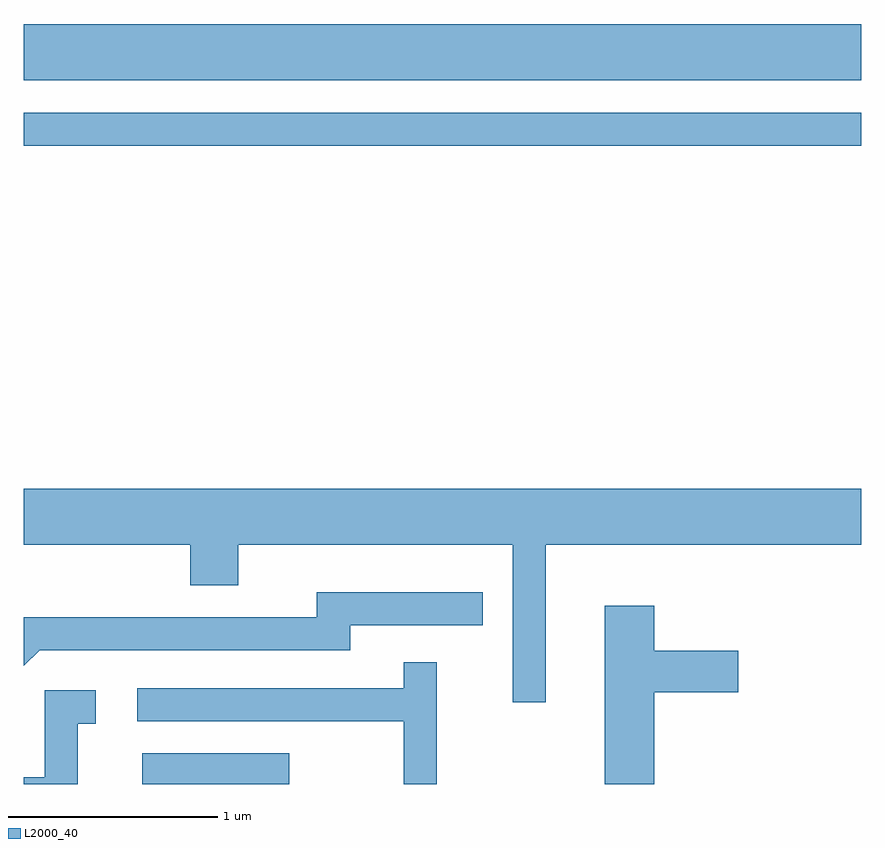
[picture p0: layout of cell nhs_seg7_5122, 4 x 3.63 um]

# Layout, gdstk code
import gdstk
lib = gdstk.Library(unit=1e-6, precision=1e-09)
def R(c, l, rs):  # rectangles x0, y0, x1, y1
    for r in rs: c.add(gdstk.rectangle(r[:2], r[2:], *l))
def P(c, l, *ps):  # polygons
    for p in ps: c.add(gdstk.Polygon(p, *l))
L2000_40 = (2000, 40)

nhs_seg7_5122 = lib.new_cell('nhs_seg7_5122')
R(nhs_seg7_5122, L2000_40, [(342.176,1744.252,342.878,1744.399), (341.611,1747.301,345.611,1747.459), (341.611,1747.616,345.611,1747.884)])
P(nhs_seg7_5122, L2000_40, [(344.104,1745.396),(345.611,1745.396),(345.611,1745.664),(341.611,1745.664),(341.611,1745.396),(342.406,1745.396),(342.406,1745.201),(342.634,1745.201),(342.634,1745.396),(343.946,1745.396),(343.946,1744.643),(344.104,1744.643)],
  [(341.687,1744.891),(343.169,1744.891),(343.169,1745.011),(343.803,1745.011),(343.803,1745.169),(343.011,1745.169),(343.011,1745.049),(341.611,1745.049),(341.611,1744.816)],
  [(344.624,1744.691),(345.024,1744.691),(345.024,1744.889),(344.624,1744.889),(344.624,1745.104),(344.386,1745.104),(344.386,1744.252),(344.624,1744.252)],
  [(343.584,1744.833),(343.426,1744.833),(343.426,1744.709),(342.153,1744.709),(342.153,1744.551),(343.426,1744.551),(343.426,1744.252),(343.584,1744.252)],
  [(341.869,1744.541),(341.953,1744.541),(341.953,1744.699),(341.711,1744.699),(341.711,1744.284),(341.611,1744.284),(341.611,1744.252),(341.869,1744.252)])

lib.write_gds('nhs_seg7_5122.gds')
